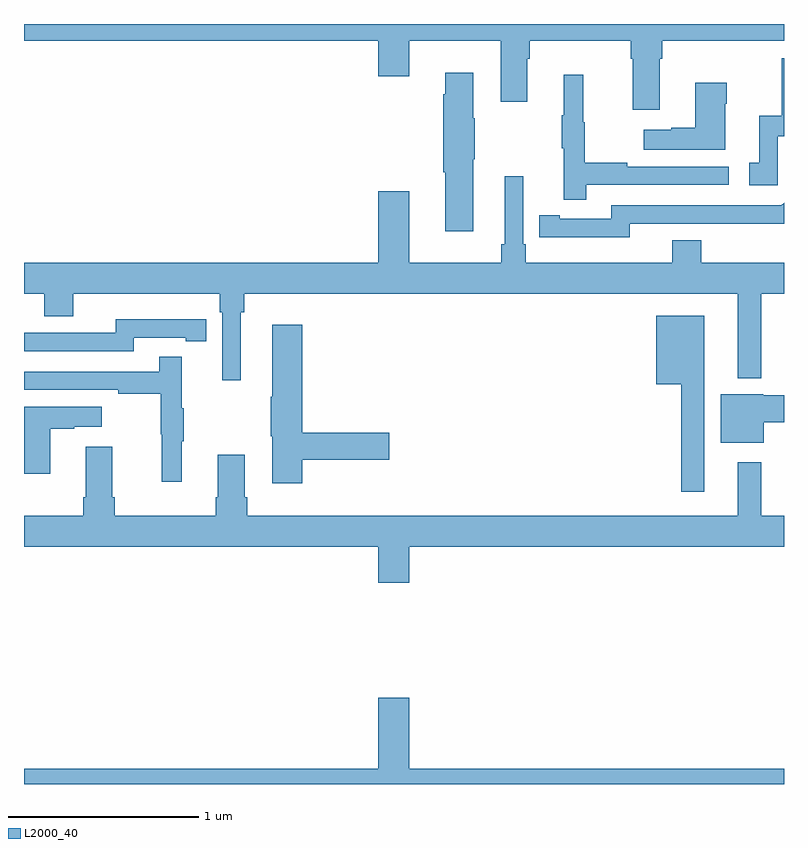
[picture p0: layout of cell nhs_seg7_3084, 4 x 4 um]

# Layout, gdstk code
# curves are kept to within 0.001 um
import gdstk
lib = gdstk.Library(unit=1e-6, precision=1e-09)
def P(c, l, *ps):  # polygons
    for p in ps: c.add(gdstk.Polygon(p, *l))
L2000_40 = (2000, 40)

nhs_seg7_3084 = lib.new_cell('nhs_seg7_3084')
P(nhs_seg7_3084, L2000_40, [(310.345,1037.816),(310.358,1037.816),(310.358,1037.912),(311,1037.912),(311,1038),(307,1038),(307,1037.912),(308.864,1037.912),(308.864,1037.724),(309.028,1037.724),(309.028,1037.912),(309.509,1037.912),(309.509,1037.592),(309.649,1037.592),(309.649,1037.816),(309.662,1037.816),(309.662,1037.912),(310.193,1037.912),(310.193,1037.816),(310.205,1037.816),(310.205,1037.55),(310.345,1037.55)],
  [(310.968,1037.409),(311,1037.409),(311,1037.82),(310.989,1037.82),(310.989,1037.518),(310.871,1037.518),(310.871,1037.271),(310.818,1037.271),(310.818,1037.151),(310.968,1037.151)],
  [(309.364,1037.287),(309.372,1037.287),(309.372,1037.504),(309.364,1037.504),(309.364,1037.743),(309.218,1037.743),(309.218,1037.63),(309.206,1037.63),(309.206,1037.22),(309.218,1037.22),(309.218,1036.908),(309.364,1036.908)],
  [(309.959,1037.154),(310.708,1037.154),(310.708,1037.25),(310.175,1037.25),(310.175,1037.27),(309.952,1037.27),(309.952,1037.484),(309.944,1037.484),(309.944,1037.734),(309.842,1037.734),(309.842,1037.521),(309.831,1037.521),(309.831,1037.347),(309.842,1037.347),(309.842,1037.076),(309.959,1037.076)],
  [(310.69,1037.579),(310.698,1037.579),(310.698,1037.692),(310.532,1037.692),(310.532,1037.453),(310.406,1037.453),(310.406,1037.443),(310.263,1037.443),(310.263,1037.339),(310.69,1037.339)],
  [(308.14,1036.484),(308.159,1036.484),(308.159,1036.58),(310.757,1036.58),(310.757,1036.136),(310.879,1036.136),(310.879,1036.58),(311,1036.58),(311,1036.744),(310.565,1036.744),(310.565,1036.861),(310.412,1036.861),(310.412,1036.744),(309.641,1036.744),(309.641,1036.84),(309.627,1036.84),(309.627,1037.2),(309.53,1037.2),(309.53,1036.84),(309.511,1036.84),(309.511,1036.744),(309.028,1036.744),(309.028,1037.119),(308.864,1037.119),(308.864,1036.744),(307,1036.744),(307,1036.58),(307.106,1036.58),(307.106,1036.463),(307.258,1036.463),(307.258,1036.58),(308.03,1036.58),(308.03,1036.484),(308.043,1036.484),(308.043,1036.125),(308.14,1036.125)],
  [(310.188,1036.95),(311,1036.949),(311,1037.06),(310.986,1037.046),(310.092,1037.046),(310.092,1036.974),(309.82,1036.974),(309.82,1036.994),(309.712,1036.994),(309.712,1036.878),(310.188,1036.877)],
  [(310.579,1036.465),(310.328,1036.465),(310.328,1036.103),(310.458,1036.103),(310.458,1035.537),(310.579,1035.537)],
  [(307.578,1036.35),(307.85,1036.35),(307.85,1036.33),(307.958,1036.33),(307.958,1036.446),(307.85,1036.446),(307.85,1036.447),(307.482,1036.447),(307.482,1036.374),(307.022,1036.374),(307.022,1036.376),(307,1036.376),(307,1036.278),(307.578,1036.278)],
  [(308.465,1035.706),(308.923,1035.706),(308.923,1035.848),(308.465,1035.848),(308.465,1036.417),(308.306,1036.417),(308.306,1036.037),(308.299,1036.037),(308.299,1035.831),(308.306,1035.831),(308.306,1035.582),(308.465,1035.582)],
  [(307.829,1035.803),(307.84,1035.803),(307.84,1035.977),(307.829,1035.977),(307.829,1036.249),(307.711,1036.249),(307.711,1036.17),(307,1036.17),(307,1036.074),(307.495,1036.074),(307.495,1036.054),(307.719,1036.054),(307.719,1035.84),(307.726,1035.84),(307.726,1035.591),(307.829,1035.591)],
  [(310.894,1035.904),(311,1035.904),(311,1036.046),(310.89,1036.046),(310.89,1036.051),(310.667,1036.051),(310.667,1035.797),(310.894,1035.797)],
  [(307.138,1035.871),(307.265,1035.871),(307.265,1035.881),(307.408,1035.881),(307.408,1035.985),(307,1035.985),(307,1035.632),(307.138,1035.632)],
  [(309.028,1035.248),(311,1035.248),(311,1035.412),(310.879,1035.412),(310.879,1035.694),(310.757,1035.694),(310.757,1035.412),(308.174,1035.412),(308.174,1035.508),(308.161,1035.508),(308.161,1035.733),(308.021,1035.733),(308.021,1035.508),(308.009,1035.508),(308.009,1035.412),(307.478,1035.412),(307.478,1035.508),(307.465,1035.508),(307.465,1035.775),(307.325,1035.775),(307.325,1035.508),(307.313,1035.508),(307.313,1035.412),(307,1035.412),(307,1035.248),(308.864,1035.248),(308.864,1035.06),(309.028,1035.06)],
  [(311,1034.08),(309.028,1034.08),(309.028,1034.455),(308.864,1034.455),(308.864,1034.08),(307,1034.08),(307,1034),(311,1034)])

lib.write_gds('nhs_seg7_3084.gds')
